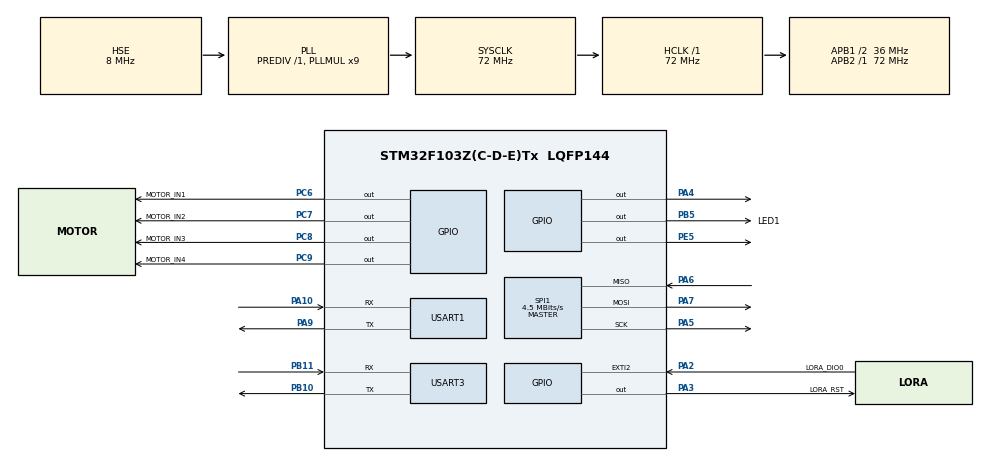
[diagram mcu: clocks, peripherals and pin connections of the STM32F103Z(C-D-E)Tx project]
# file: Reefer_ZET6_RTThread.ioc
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Mcu.Family=STM32F1
Mcu.Name=STM32F103Z(C-D-E)Tx
Mcu.Package=LQFP144
NVIC.EXTI2_IRQn=true\:2\:0\:true\:false\:true\:true\:true
NVIC.PriorityGroup=NVIC_PRIORITYGROUP_4
NVIC.SPI1_IRQn=true\:1\:0\:true\:false\:true\:true\:true
NVIC.TIM6_IRQn=true\:15\:0\:true\:false\:true\:false\:true
NVIC.TimeBase=TIM6_IRQn
NVIC.TimeBaseIP=TIM6
NVIC.USART1_IRQn=true\:3\:0\:true\:false\:true\:true\:true
OSC_IN.Mode=HSE-External-Oscillator
OSC_IN.Signal=RCC_OSC_IN
OSC_OUT.Mode=HSE-External-Oscillator
OSC_OUT.Signal=RCC_OSC_OUT
PA10.Mode=Asynchronous
PA10.Signal=USART1_RX
PA13.Mode=Serial_Wire
PA13.Signal=SYS_JTMS-SWDIO
PA14.Mode=Serial_Wire
PA14.Signal=SYS_JTCK-SWCLK
PA2.GPIO_Label=LORA_DIO0
PA2.GPIO_PuPd=GPIO_PULLDOWN
PA2.Signal=GPXTI2
PA3.GPIO_Label=LORA_RST
PA3.PinState=GPIO_PIN_SET
PA3.Signal=GPIO_Output
PA4.GPIO_Speed=GPIO_SPEED_FREQ_HIGH
PA4.PinState=GPIO_PIN_SET
PA4.Signal=GPIO_Output
PA5.Mode=Full_Duplex_Master
PA5.Signal=SPI1_SCK
PA6.Mode=Full_Duplex_Master
PA6.Signal=SPI1_MISO
PA7.Mode=Full_Duplex_Master
PA7.Signal=SPI1_MOSI
PA9.Mode=Asynchronous
PA9.Signal=USART1_TX
PB10.Mode=Asynchronous
PB10.Signal=USART3_TX
PB11.Mode=Asynchronous
PB11.Signal=USART3_RX
PB5.GPIO_Label=LED1
PB5.Signal=GPIO_Output
PC6.GPIO_Label=MOTOR_IN1
PC6.Signal=GPIO_Output
PC7.GPIO_Label=MOTOR_IN2
PC7.Signal=GPIO_Output
PC8.GPIO_Label=MOTOR_IN3
PC8.Signal=GPIO_Output
PC9.GPIO_Label=MOTOR_IN4
PC9.Signal=GPIO_Output
PE5.Signal=GPIO_Output
ProjectManager.HeapSize=0x200
ProjectManager.StackSize=0x400
ProjectManager.TargetToolchain=MDK-ARM V5.32
RCC.AHBFreq_Value=72000000
RCC.APB1CLKDivider=RCC_HCLK_DIV2
RCC.APB1Freq_Value=36000000
RCC.APB1TimFreq_Value=72000000
RCC.APB2Freq_Value=72000000
RCC.APB2TimFreq_Value=72000000
RCC.HCLKFreq_Value=72000000
RCC.PLLMUL=RCC_PLL_MUL9
RCC.PLLSourceVirtual=RCC_PLLSOURCE_HSE
RCC.SYSCLKFreq_VALUE=72000000
RCC.SYSCLKSource=RCC_SYSCLKSOURCE_PLLCLK
RCC.USBFreq_Value=72000000
SPI1.BaudRatePrescaler=SPI_BAUDRATEPRESCALER_16
SPI1.CalculateBaudRate=4.5 MBits/s
SPI1.Direction=SPI_DIRECTION_2LINES
SPI1.Mode=SPI_MODE_MASTER
SPI1.VirtualType=VM_MASTER
USART1.VirtualMode=VM_ASYNC
USART3.VirtualMode=VM_ASYNC
VP_SYS_VS_tim6.Mode=TIM6
board=custom

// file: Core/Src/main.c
/* USER CODE BEGIN Header */
/**
  ******************************************************************************
  * @file           : main.c
  * @brief          : Main program body
  ******************************************************************************
  * @attention
  *
  * Copyright (c) 2025 STMicroelectronics.
  * All rights reserved.
  *
  * This software is licensed under terms that can be found in the LICENSE file
  * in the root directory of this software component.
  * If no LICENSE file comes with this software, it is provided AS-IS.
  *
  ******************************************************************************
  */
/* USER CODE END Header */
#include "main.h"
#include "spi.h"
#include "usart.h"
#include "gpio.h"

/* USER CODE BEGIN Includes */
#include <rtthread.h>
#include "bsp_lora.h" // 包含 LoRa 相关的定义
#include <stdlib.h>
/* USER CODE END Includes */

/* USER CODE BEGIN PV */
// =============================================================
// [定义] 全局共享变量 (真正的内存分配发生在这里)
// volatile 关键字必不可少，防止编译器优化掉多线程间的变化
// =============================================================
volatile float g_current_temp = 21.0f; // 初始化当前温度
volatile float g_target_temp  = 20.0f; // 初始化目标温度
rt_thread_t tid;

/* USER CODE END PV */

void SystemClock_Config(void);
/* USER CODE BEGIN PFP */

// [新增] 声明外部的 LoRa 业务线程函数 (定义在 app_lora_node.c 中)
extern void lora_thread_entry(void *parameter);
extern void PID_UART3_RxCpltCallback(UART_HandleTypeDef *huart);
extern rt_thread_t tid;
extern
/* USER CODE END PFP */

/* USER CODE BEGIN 0 */
/**
 * @brief  统一启动用户线程的函数
 * 放在这里管理，避免 main 函数太乱
 */
void User_App_Start(void)
{

/* ================== 创建 LoRa 业务主线程 ================== */
    /* * lora_thread_entry: 在 app_lora_node.c 中定义的新业务逻辑
     * 栈大小: 2048 (2KB) - 协议解析和日志打印需要较多栈空间，改大一点更稳健
     * 优先级: 15 - 提高优先级，确保能及时处理网关的 Beacon
     * 时间片: 10 tick
     */
    tid = rt_thread_create("lora_node",
                           lora_thread_entry, RT_NULL,
                           2048, 15, 10);

    if (tid != RT_NULL) {
        rt_thread_startup(tid);
        rt_kprintf("[Main] LoRa Node App Started.\n");
    } else {
        rt_kprintf("[Main] Error: LoRa Node Thread Create Failed!\n");
    }

    /* 2. 如果以后有PID线程或者其他业务线程，都在这里创建 */
    /* tid = rt_thread_create("pid_task", pid_thread_entry, ...);
    if (tid != RT_NULL) rt_thread_startup(tid);
    */
}

/* USER CODE END 0 */

int main(void)
{

  /* MCU Configuration--------------------------------------------------------*/

  /* Reset of all peripherals, Initializes the Flash interface and the Systick. */
  HAL_Init();

  /* Configure the system clock */
  SystemClock_Config();

  /* Initialize all configured peripherals */
  MX_GPIO_Init();
  MX_SPI1_Init();
  MX_USART1_UART_Init();
  MX_USART3_UART_Init();
  /* USER CODE BEGIN 2 */
    rt_kprintf("\n");
    rt_kprintf("==========================================\n");
    rt_kprintf("   Reefer Node System (RT-Thread)         \n");
    rt_kprintf("==========================================\n");

  /* [修改说明]
   * 移除了这里的 LoRa_Init() 调用。
   * 原因：lora_thread_entry 线程内部会调用 LoRa_Init()。
   * 如果这里也调用，会导致互斥量重复创建，属于资源浪费。
   */

  /* 2. 启动用户线程 */
  User_App_Start();
   rt_kprintf("Rx Size: %d (Expect 10)\n", sizeof(MatlabRxFrame_t));
   rt_kprintf("Tx Size: %d (Expect 6)\n", sizeof(MatlabTxFrame_t));

  /* USER CODE END 2 */

  /* Infinite loop */
  while (1)
  {

    /* USER CODE BEGIN 3 */
/* 让主线程仅仅作为心跳闪烁，频率低一点，证明系统活着 */
      HAL_GPIO_TogglePin(GPIOE, GPIO_PIN_5);
      rt_thread_mdelay(1000); // 每秒闪一次，不干扰其他线程
  /* USER CODE END 3 */
  }
}

void SystemClock_Config(void)
{
  RCC_OscInitTypeDef RCC_OscInitStruct = {0};
  RCC_ClkInitTypeDef RCC_ClkInitStruct = {0};

  /** Initializes the RCC Oscillators according to the specified parameters
  * in the RCC_OscInitTypeDef structure.
  */
  RCC_OscInitStruct.OscillatorType = RCC_OSCILLATORTYPE_HSE;
  RCC_OscInitStruct.HSEState = RCC_HSE_ON;
  RCC_OscInitStruct.HSEPredivValue = RCC_HSE_PREDIV_DIV1;
  RCC_OscInitStruct.HSIState = RCC_HSI_ON;
  RCC_OscInitStruct.PLL.PLLState = RCC_PLL_ON;
  RCC_OscInitStruct.PLL.PLLSource = RCC_PLLSOURCE_HSE;
  RCC_OscInitStruct.PLL.PLLMUL = RCC_PLL_MUL9;
  if (HAL_RCC_OscConfig(&RCC_OscInitStruct) != HAL_OK)
  {
    Error_Handler();
  }
  /** Initializes the CPU, AHB and APB buses clocks
  */
  RCC_ClkInitStruct.ClockType = RCC_CLOCKTYPE_HCLK|RCC_CLOCKTYPE_SYSCLK
                              |RCC_CLOCKTYPE_PCLK1|RCC_CLOCKTYPE_PCLK2;
  RCC_ClkInitStruct.SYSCLKSource = RCC_SYSCLKSOURCE_PLLCLK;
  RCC_ClkInitStruct.AHBCLKDivider = RCC_SYSCLK_DIV1;
  RCC_ClkInitStruct.APB1CLKDivider = RCC_HCLK_DIV2;
  RCC_ClkInitStruct.APB2CLKDivider = RCC_HCLK_DIV1;

  if (HAL_RCC_ClockConfig(&RCC_ClkInitStruct, FLASH_LATENCY_2) != HAL_OK)
  {
    Error_Handler();
  }
}

/* USER CODE BEGIN 4 */
/* 引入外部回调函数 */
extern void PID_UART3_RxCpltCallback(UART_HandleTypeDef *huart);

/* HAL库串口接收完成回调 */
void HAL_UART_RxCpltCallback(UART_HandleTypeDef *huart)
{
    /* 如果是串口3，交给 PID 模块处理 */
    if (huart->Instance == USART3)
    {
        PID_UART3_RxCpltCallback(huart);
    }
}
/* USER CODE END 4 */

void HAL_TIM_PeriodElapsedCallback(TIM_HandleTypeDef *htim)
{
  if (htim->Instance == TIM6) {
    HAL_IncTick();
  }
}

void Error_Handler(void)
{
  __disable_irq();
  while (1)
  {
  }
}
